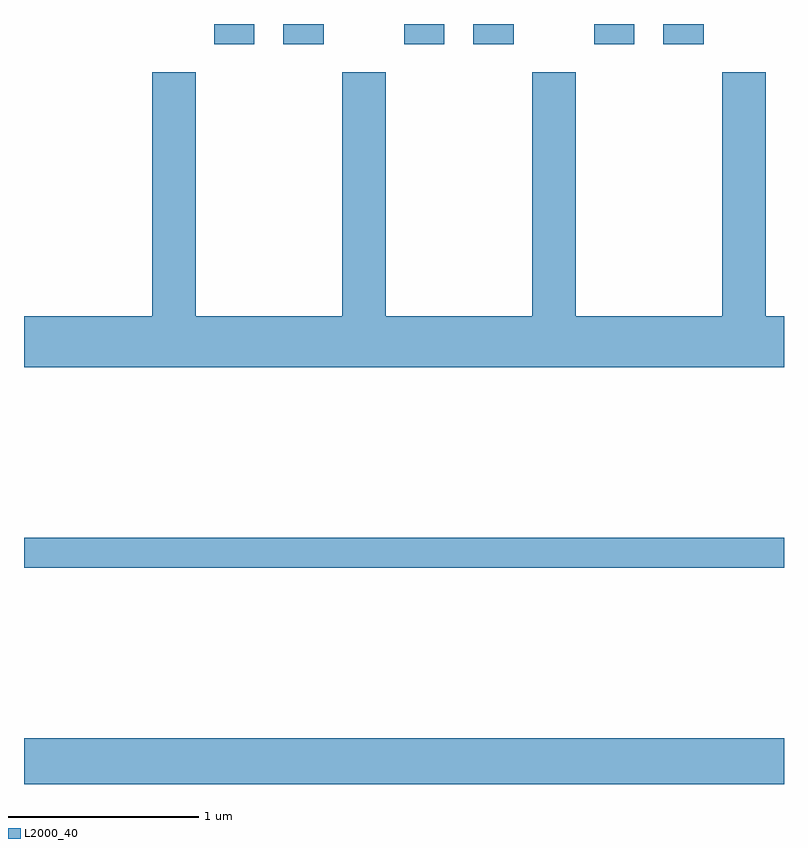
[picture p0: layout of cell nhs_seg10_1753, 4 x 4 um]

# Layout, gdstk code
import gdstk
lib = gdstk.Library(unit=1e-6, precision=1e-09)
def R(c, l, rs):  # rectangles x0, y0, x1, y1
    for r in rs: c.add(gdstk.rectangle(r[:2], r[2:], *l))
def P(c, l, *ps):  # polygons
    for p in ps: c.add(gdstk.Polygon(p, *l))
L2000_40 = (2000, 40)

nhs_seg10_1753 = lib.new_cell('nhs_seg10_1753')
R(nhs_seg10_1753, L2000_40, [(235.611,2200.522,239.611,2200.764), (235.611,2201.661,239.611,2201.819), (236.611,2204.416,236.824,2204.522), (236.976,2204.416,237.189,2204.522), (237.611,2204.416,237.824,2204.522), (237.976,2204.416,238.189,2204.522), (238.611,2204.416,238.824,2204.522), (238.976,2204.416,239.189,2204.522)])
P(nhs_seg10_1753, L2000_40, [(239.611,2202.984),(239.514,2202.984),(239.514,2204.269),(239.286,2204.269),(239.286,2202.984),(238.514,2202.984),(238.514,2204.269),(238.286,2204.269),(238.286,2202.984),(237.514,2202.984),(237.514,2204.269),(237.286,2204.269),(237.286,2202.984),(236.514,2202.984),(236.514,2204.269),(236.286,2204.269),(236.286,2202.984),(235.611,2202.984),(235.611,2202.716),(239.611,2202.716)])

lib.write_gds('nhs_seg10_1753.gds')
